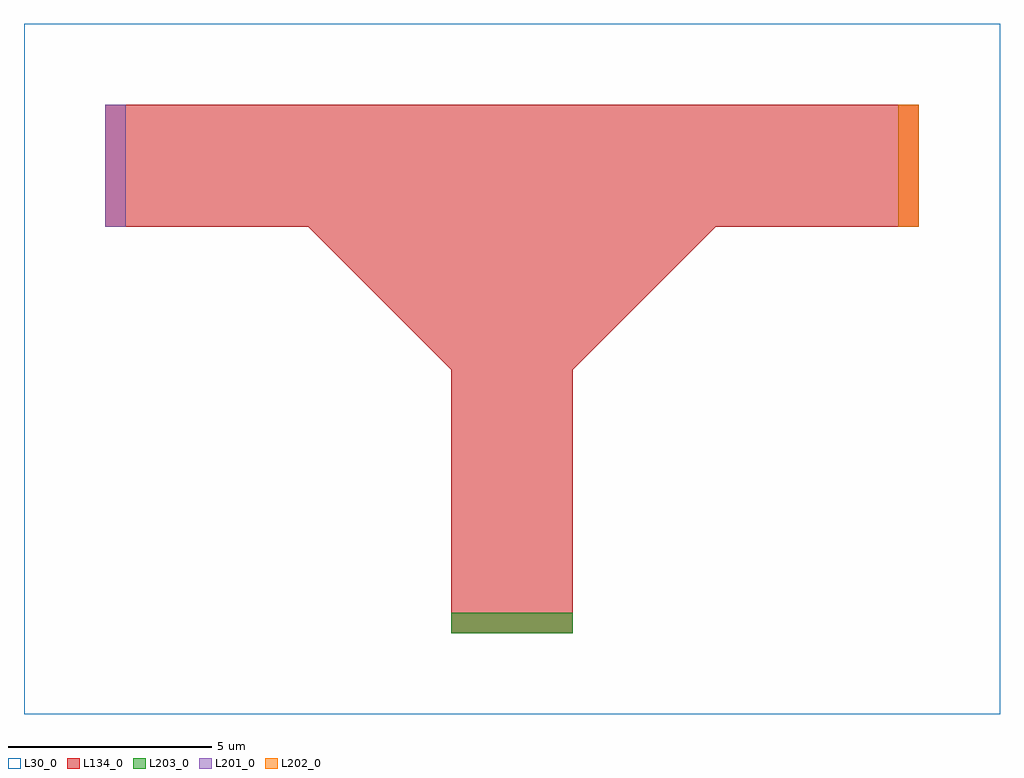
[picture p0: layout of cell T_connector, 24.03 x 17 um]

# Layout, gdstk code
import gdstk
lib = gdstk.Library(unit=1e-6, precision=1e-09)
def R(c, l, rs):  # rectangles x0, y0, x1, y1
    for r in rs: c.add(gdstk.rectangle(r[:2], r[2:], *l))
def P(c, l, *ps):  # polygons
    for p in ps: c.add(gdstk.Polygon(p, *l))
L30_0 = (30, 0)
L134_0 = (134, 0)
L201_0 = (201, 0)
L202_0 = (202, 0)
L203_0 = (203, 0)

t_connector = lib.new_cell('T_connector')
R(t_connector, L30_0, [(-66.535,-38.02,-42.505,-21.02)])
R(t_connector, L134_0, [(-56.02,-36.02,-53.02,-26.02), (-64.535,-26.02,-44.505,-23.02)])
P(t_connector, L134_0, [(-56.02,-29.535),(-59.535,-26.02),(-56.02,-26.02)],
  [(-53.02,-29.535),(-53.02,-26.02),(-49.505,-26.02)])
R(t_connector, L201_0, [(-64.535,-26.02,-64.035,-23.02)])
R(t_connector, L202_0, [(-45.005,-26.02,-44.505,-23.02)])
R(t_connector, L203_0, [(-56.02,-36.02,-53.02,-35.52)])

lib.write_gds('T_connector.gds')
